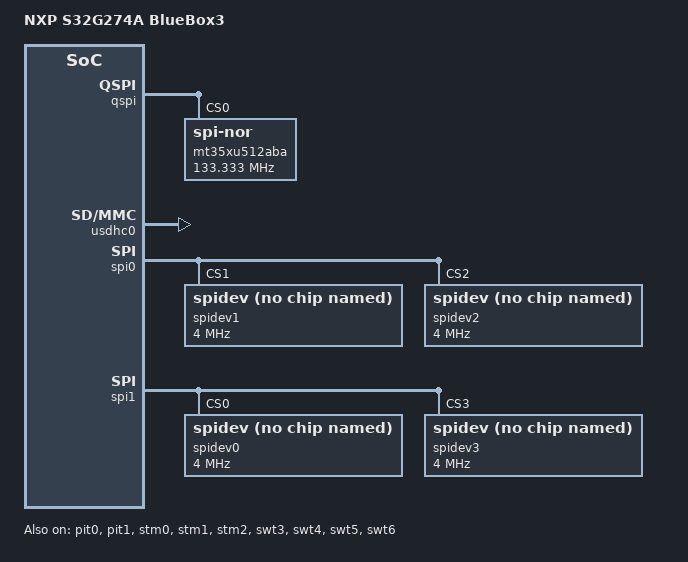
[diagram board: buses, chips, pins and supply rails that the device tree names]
// SPDX-License-Identifier: GPL-2.0-or-later OR MIT
/*
 * Copyright 2020-2023 NXP
 */

/dts-v1/;
#include "s32g2.dtsi"

/ {
	model = "NXP S32G274A BlueBox3";

	chosen {
		stdout-path = "serial0:115200n8";
	};
};

&timer {
	clock-frequency = <5000000>;
};

&qspi {
	/delete-node/ mx25uw51245g@0;

	mt35xu512aba@0 {
		address-cells = <1>;
		#size-cells = <1>;
		compatible = "jedec,spi-nor";
		spi-max-frequency = <133333333>;
		spi-tx-bus-width = <8>;
		spi-rx-bus-width = <8>;
		reg = <0>;
	};
};

&usdhc0 {
	pinctrl-names = "default", "state_100mhz", "state_200mhz";
	/* By default, sd0 pins are able to work at 100Mhz and 200Mhz */
	pinctrl-0 = <&sd0_pins_default>;
	pinctrl-1 = <&sd0_pins_100mhz>;
	pinctrl-2 = <&sd0_pins_200mhz>;
	status = "okay";
};

&pinctrl {
	dspi0_pins: dspi0_pins {
		dspi0_grp0 {
			pinmux = <S32CC_PINMUX(13, FUNC1)>,
				 <S32CC_PINMUX(15, FUNC1)>;
			output-enable;
			slew-rate = <S32CC_GPIO_3V3_SLEW_50MHZ>;
		};

		dspi0_grp1 {
			pinmux = <S32CC_PINMUX(14, FUNC0)>;
			input-enable;
			slew-rate = <S32CC_GPIO_3V3_SLEW_50MHZ>;
			bias-pull-up;
		};

		dspi0_grp2 {
			pinmux = <S32CC_PINMUX(982, FUNC2)>;
		};

		dspi0_grp3 {
			pinmux = <S32CC_PINMUX(25, FUNC5)>;
			output-enable;
			slew-rate = <S32CC_GPIO_3V3_SLEW_50MHZ>;
			bias-pull-up;
		};

		dspi0_grp4 {
			pinmux = <S32CC_PINMUX(26, FUNC3)>;
			output-enable;
			slew-rate = <S32CC_GPIO_3V3_SLEW_50MHZ>;
			bias-pull-up;
		};
	};

	dspi1_pins: dspi1_pins {
		dspi1_grp0 {
			pinmux = <S32CC_PINMUX(6, FUNC2)>;
			output-enable;
			slew-rate = <S32CC_GPIO_3V3_SLEW_50MHZ>;
		};

		dspi1_grp1 {
			pinmux = <S32CC_PINMUX(8, FUNC3)>;
			output-enable;
			slew-rate = <S32CC_GPIO_3V3_SLEW_50MHZ>;
		};

		dspi1_grp2 {
			pinmux = <S32CC_PINMUX(7, FUNC2)>;
			output-enable;
			slew-rate = <S32CC_GPIO_3V3_SLEW_50MHZ>;
			bias-pull-up;
		};

		dspi1_grp3 {
			pinmux = <S32CC_PINMUX(68, FUNC3)>;
			output-enable;
			slew-rate = <S32CC_FAST_SLEW_150MHZ>;
			bias-pull-up;
		};

		dspi1_grp4 {
			pinmux = <S32CC_PINMUX(95, FUNC0)>;
			input-enable;
			slew-rate = <S32CC_GPIO_3V3_SLEW_50MHZ>;
			bias-pull-up;
		};

		dspi1_grp5 {
			pinmux = <S32CC_PINMUX(987, FUNC2)>;
		};
	};
};

&pit0 {
	status = "okay";
};

&pit1 {
	status = "okay";
};

&spi0 {
	pinctrl-names = "default";
	pinctrl-0 = <&dspi0_pins>;
	#address-cells = <1>;
	#size-cells = <0>;
	status = "okay";

	spidev1: spidev@1 {
		compatible = "rohm,dh2228fv";
		spi-max-frequency = <4000000>;
		reg = <1>;
	};

	spidev2: spidev@2 {
		compatible = "rohm,dh2228fv";
		spi-max-frequency = <4000000>;
		reg = <2>;
	};
};

&spi1 {
	pinctrl-names = "default";
	pinctrl-0 = <&dspi1_pins>;
	#address-cells = <1>;
	#size-cells = <0>;
	status = "okay";

	spidev0: spidev@0 {
		compatible = "rohm,dh2228fv";
		spi-max-frequency = <4000000>;
		reg = <0>;
	};

	spidev3: spidev@3 {
		compatible = "rohm,dh2228fv";
		spi-max-frequency = <4000000>;
		reg = <3>;
	};
};

&stm0 {
	status = "okay";
};

&stm1 {
	status = "okay";
};

&stm2 {
	status = "okay";
};

&swt3 {
	status = "okay";
};

&swt4 {
	status = "okay";
};

&swt5 {
	status = "okay";
};

&swt6 {
	status = "okay";
};
